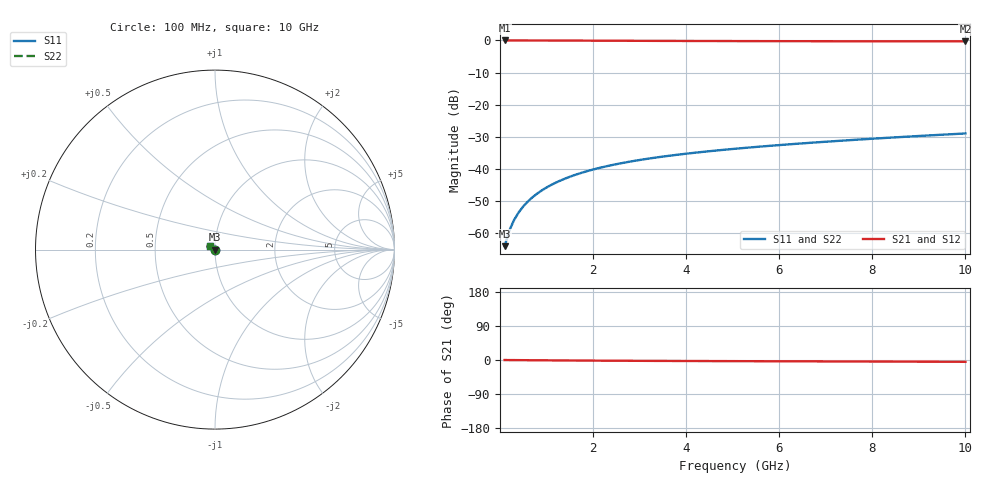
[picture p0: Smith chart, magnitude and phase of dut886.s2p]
! Touchstone file exported from HFSS 2024.1.0
!  File:  C:/UserFiles/LocalFiles/RDL_TSV_Batchsim/temp_TSV1_886_1779884327.aedt
!  Generated:  08:25:53 PM May 27, 2026
!  Design:  TSV1
!  Project:  temp_TSV1_886_1779884327
!  Setup:  Setup1
!  Solution:  Sweep
! Variables:
!  dtsv = 5.95um
!  hbump = 3um
!  htsv = 67.46um
!  lrdl = 252.1521522um
!  p = 40
!  p1 = 52.99um
!  t = 500um
!  trdl = 3um
!  wrdl = 24.89489489um
# GHz S MA R 50.000000
! Terminal data exported
! Port[1] = TSV22_T1
! Port[2] = TSV22_T2
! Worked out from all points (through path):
!   100 points, 100 MHz to 10 GHz, reference 50 ohm
!   highest |S21| = 0.00 dB at 100 MHz (marker M1); lowest = -0.3 dB at 10 GHz (marker M2)
!   lowest |S11| = -64.0 dB at 100 MHz (marker M3), VSWR 1.00, Z = 50 - j0.0532 ohm
!   |S11| at or under -10 dB: start of sweep to end of sweep
!   |S22| runs from -64.0 to -29.0 dB; largest |S21 - S12| = 5e-15
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0.1  0.000629 -57.7  0.9996 -0.1  0.9996 -0.1  0.000629 -57.7
! Gamma 0 0 0 0
! Port Impedance 50 0 50 0
0.2  0.001093 -76.0  0.9995 -0.2  0.9995 -0.2  0.001093 -76.0
0.3  0.001591 -84.7  0.9994 -0.3  0.9994 -0.3  0.001591 -84.7
0.4  0.002099 -90.4  0.9992 -0.4  0.9992 -0.4  0.002099 -90.4
0.5  0.00261 -94.8  0.999 -0.5  0.999 -0.5  0.00261 -94.8
0.6  0.003123 -98.5  0.9988 -0.5  0.9988 -0.5  0.003123 -98.5
0.7  0.003633 -101.8  0.9985 -0.6  0.9985 -0.6  0.003633 -101.8
0.8  0.004141 -104.9  0.9981 -0.7  0.9981 -0.7  0.004142 -104.9
0.9  0.004646 -107.7  0.9978 -0.8  0.9978 -0.8  0.004646 -107.7
1.1  0.00564 -113.1  0.997 -1.0  0.997 -1.0  0.00564 -113.1
1.4  0.007087 -120.6  0.9955 -1.2  0.9955 -1.2  0.007087 -120.6
1.6  0.008019 -125.2  0.9945 -1.4  0.9945 -1.4  0.008019 -125.2
1.8  0.008923 -129.7  0.9934 -1.5  0.9934 -1.5  0.008923 -129.7
2.1  0.01023 -136.1  0.9917 -1.7  0.9917 -1.7  0.01023 -136.1
2.5  0.01187 -144.0  0.9894 -1.9  0.9894 -1.9  0.01187 -144.0
2.9  0.01342 -151.4  0.9872 -2.1  0.9872 -2.1  0.01342 -151.4
3.4  0.01523 -159.8  0.9845 -2.4  0.9845 -2.4  0.01523 -159.8
4.2  0.01793 -171.5  0.9808 -2.7  0.9808 -2.7  0.01793 -171.5
5.1  0.02078 177.3  0.9774 -3.1  0.9774 -3.1  0.02078 177.3
6.7  0.02563 161.7  0.973 -3.6  0.973 -3.6  0.02563 161.7
8.4  0.03076 149.4  0.9699 -4.2  0.9699 -4.2  0.03076 149.4
10  0.03568 140.6  0.9678 -4.7  0.9678 -4.7  0.03568 140.6
